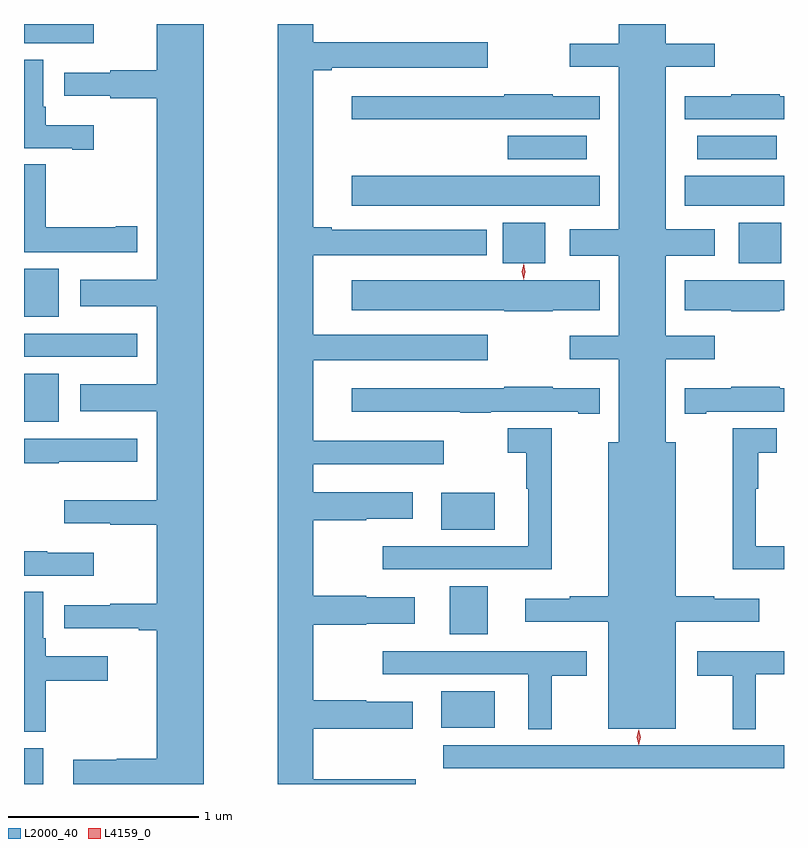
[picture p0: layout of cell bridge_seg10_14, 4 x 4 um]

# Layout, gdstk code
import gdstk
lib = gdstk.Library(unit=1e-6, precision=1e-09)
def R(c, l, rs):  # rectangles x0, y0, x1, y1
    for r in rs: c.add(gdstk.rectangle(r[:2], r[2:], *l))
def P(c, l, *ps):  # polygons
    for p in ps: c.add(gdstk.Polygon(p, *l))
L2000_40 = (2000, 40)
L4159_0 = (4159, 0)

bridge_seg10_14 = lib.new_cell('bridge_seg10_14')
R(bridge_seg10_14, L2000_40, [(1053.347,1278.118,1053.448,1278.307), (1055.553,1278.2,1057.347,1278.322), (1055.543,1278.413,1055.824,1278.607), (1055.588,1278.905,1055.788,1279.159), (1055.543,1279.457,1055.824,1279.651), (1053.347,1280.024,1053.529,1280.278), (1053.347,1280.366,1053.943,1280.488), (1053.347,1280.576,1053.529,1280.83), (1055.867,1280.858,1056.091,1281.073), (1057.109,1280.858,1057.333,1281.073), (1055.073,1281.161,1056.376,1281.319), (1056.825,1281.161,1057.347,1281.319), (1055.892,1281.407,1056.31,1281.529), (1056.891,1281.407,1057.309,1281.529), (1053.347,1282.016,1053.715,1282.118)])
P(bridge_seg10_14, L2000_40, [(1054.294,1282.118),(1054.046,1282.118),(1054.046,1281.875),(1053.802,1281.875),(1053.802,1281.862),(1053.558,1281.862),(1053.558,1281.74),(1053.802,1281.74),(1053.802,1281.728),(1054.046,1281.728),(1054.046,1280.773),(1053.642,1280.773),(1053.642,1280.633),(1054.046,1280.633),(1054.046,1280.221),(1053.642,1280.221),(1053.642,1280.081),(1054.046,1280.081),(1054.046,1279.612),(1053.558,1279.612),(1053.558,1279.49),(1053.802,1279.49),(1053.802,1279.483),(1054.046,1279.483),(1054.046,1279.068),(1053.802,1279.068),(1053.802,1279.06),(1053.558,1279.06),(1053.558,1278.938),(1053.95,1278.938),(1053.95,1278.926),(1054.046,1278.926),(1054.046,1278.251),(1053.834,1278.251),(1053.834,1278.246),(1053.606,1278.246),(1053.606,1278.118),(1054.294,1278.118)],
  [(1055.41,1278.142),(1054.87,1278.142),(1054.87,1278.41),(1055.392,1278.41),(1055.392,1278.55),(1055.147,1278.55),(1055.147,1278.558),(1054.87,1278.558),(1054.87,1278.955),(1055.147,1278.955),(1055.147,1278.962),(1055.404,1278.962),(1055.404,1279.102),(1055.147,1279.102),(1055.147,1279.11),(1054.87,1279.11),(1054.87,1279.507),(1055.147,1279.507),(1055.147,1279.514),(1055.392,1279.514),(1055.392,1279.654),(1054.87,1279.654),(1054.87,1279.802),(1055.557,1279.802),(1055.557,1279.924),(1054.87,1279.924),(1054.87,1280.348),(1055.788,1280.348),(1055.788,1280.482),(1054.87,1280.482),(1054.87,1280.9),(1055.782,1280.9),(1055.782,1281.034),(1054.966,1281.034),(1054.966,1281.047),(1054.87,1281.047),(1054.87,1281.875),(1054.966,1281.875),(1054.966,1281.887),(1055.788,1281.887),(1055.788,1282.021),(1054.87,1282.021),(1054.87,1282.118),(1054.682,1282.118),(1054.682,1278.118),(1055.41,1278.118)],
  [(1056.778,1278.971),(1057.216,1278.971),(1057.216,1279.093),(1056.98,1279.093),(1056.98,1279.106),(1056.778,1279.106),(1056.778,1279.918),(1056.724,1279.918),(1056.724,1280.354),(1056.982,1280.354),(1056.982,1280.476),(1056.724,1280.476),(1056.724,1280.897),(1056.982,1280.897),(1056.982,1281.037),(1056.724,1281.037),(1056.724,1281.893),(1056.982,1281.893),(1056.982,1282.015),(1056.724,1282.015),(1056.724,1282.118),(1056.476,1282.118),(1056.476,1282.015),(1056.219,1282.015),(1056.219,1281.893),(1056.476,1281.893),(1056.476,1281.037),(1056.219,1281.037),(1056.219,1280.897),(1056.476,1280.897),(1056.476,1280.476),(1056.219,1280.476),(1056.219,1280.354),(1056.476,1280.354),(1056.476,1279.918),(1056.422,1279.918),(1056.422,1279.106),(1056.22,1279.106),(1056.22,1279.093),(1055.985,1279.093),(1055.985,1278.971),(1056.422,1278.971),(1056.422,1278.41),(1056.778,1278.41)],
  [(1053.715,1281.586),(1053.461,1281.586),(1053.461,1281.682),(1053.448,1281.682),(1053.448,1281.931),(1053.347,1281.931),(1053.347,1281.464),(1053.602,1281.464),(1053.602,1281.457),(1053.715,1281.457)],
  [(1056.376,1281.739),(1056.131,1281.739),(1056.131,1281.747),(1055.875,1281.747),(1055.875,1281.739),(1055.073,1281.739),(1055.073,1281.617),(1056.376,1281.617)],
  [(1057.347,1281.739),(1057.325,1281.739),(1057.325,1281.747),(1057.069,1281.747),(1057.069,1281.739),(1056.825,1281.739),(1056.825,1281.617),(1057.347,1281.617)],
  [(1053.943,1281.053),(1053.83,1281.053),(1053.83,1281.048),(1053.461,1281.048),(1053.461,1281.379),(1053.347,1281.379),(1053.347,1280.918),(1053.943,1280.918)],
  [(1057.325,1280.612),(1057.347,1280.612),(1057.347,1280.77),(1056.825,1280.77),(1056.825,1280.612),(1057.069,1280.612),(1057.069,1280.605),(1057.325,1280.605)],
  [(1056.131,1280.612),(1056.376,1280.612),(1056.376,1280.77),(1055.073,1280.77),(1055.073,1280.612),(1055.875,1280.612),(1055.875,1280.605),(1056.131,1280.605)],
  [(1056.937,1280.078),(1057.347,1280.078),(1057.347,1280.2),(1057.325,1280.2),(1057.325,1280.208),(1057.069,1280.208),(1057.069,1280.2),(1056.825,1280.2),(1056.825,1280.066),(1056.937,1280.066)],
  [(1056.376,1280.2),(1056.131,1280.2),(1056.131,1280.208),(1055.875,1280.208),(1055.875,1280.2),(1055.073,1280.2),(1055.073,1280.078),(1055.644,1280.078),(1055.644,1280.071),(1055.804,1280.071),(1055.804,1280.078),(1056.263,1280.078),(1056.263,1280.066),(1056.376,1280.066)],
  [(1056.124,1279.99),(1055.892,1279.99),(1055.892,1279.861),(1055.99,1279.861),(1055.99,1279.672),(1056.002,1279.672),(1056.002,1279.369),(1055.235,1279.369),(1055.235,1279.247),(1056.124,1279.247)],
  [(1057.347,1279.369),(1057.198,1279.369),(1057.198,1279.672),(1057.211,1279.672),(1057.211,1279.861),(1057.309,1279.861),(1057.309,1279.99),(1057.076,1279.99),(1057.076,1279.247),(1057.347,1279.247)],
  [(1053.53,1279.814),(1053.943,1279.814),(1053.943,1279.936),(1053.347,1279.936),(1053.347,1279.807),(1053.53,1279.807)],
  [(1053.715,1279.336),(1053.47,1279.336),(1053.47,1279.344),(1053.347,1279.344),(1053.347,1279.214),(1053.715,1279.214)],
  [(1053.461,1278.661),(1053.787,1278.661),(1053.787,1278.79),(1053.461,1278.79),(1053.461,1278.886),(1053.448,1278.886),(1053.448,1279.129),(1053.347,1279.129),(1053.347,1278.392),(1053.461,1278.392)],
  [(1057.198,1278.695),(1057.347,1278.695),(1057.347,1278.817),(1056.891,1278.817),(1056.891,1278.688),(1057.076,1278.688),(1057.076,1278.407),(1057.198,1278.407)],
  [(1056.124,1278.688),(1056.31,1278.688),(1056.31,1278.817),(1055.235,1278.817),(1055.235,1278.695),(1056.002,1278.695),(1056.002,1278.407),(1056.124,1278.407)])
P(bridge_seg10_14, L4159_0, [(1056.583,1278.321),(1056.583,1278.322),(1056.573,1278.363),(1056.583,1278.404),(1056.583,1278.404),(1056.583,1278.404),(1056.593,1278.363),(1056.583,1278.322)],
  [(1055.976,1280.773),(1055.976,1280.774),(1055.966,1280.814),(1055.976,1280.855),(1055.976,1280.856),(1055.976,1280.855),(1055.986,1280.814),(1055.976,1280.774)])

lib.write_gds('bridge_seg10_14.gds')
